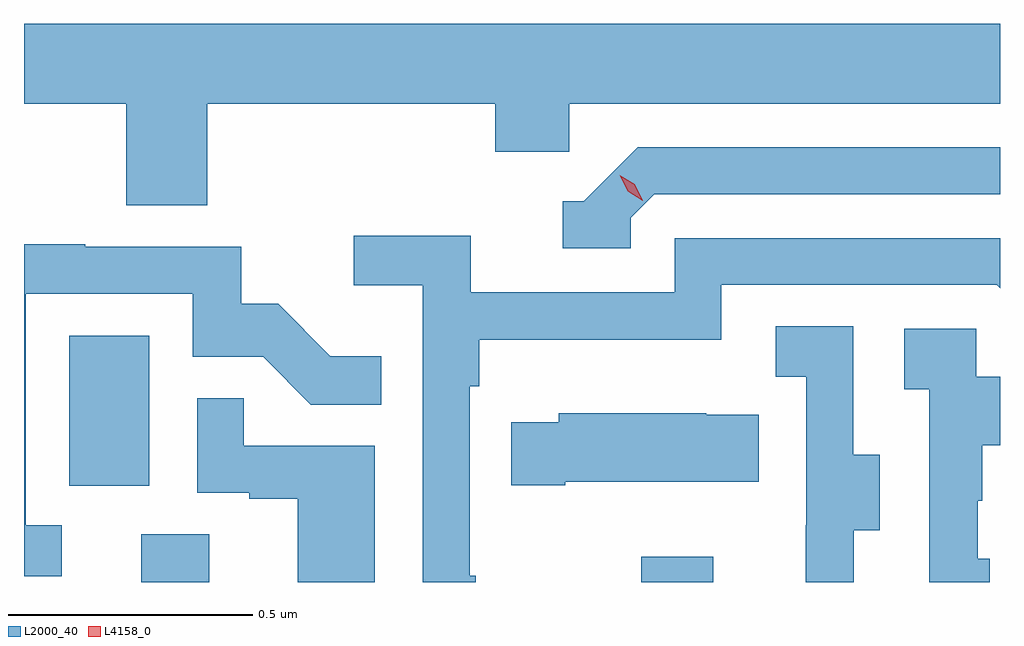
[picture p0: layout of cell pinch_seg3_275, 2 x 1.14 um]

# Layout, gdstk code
import gdstk
lib = gdstk.Library(unit=1e-6, precision=1e-09)
def R(c, l, rs):  # rectangles x0, y0, x1, y1
    for r in rs: c.add(gdstk.rectangle(r[:2], r[2:], *l))
def P(c, l, *ps):  # polygons
    for p in ps: c.add(gdstk.Polygon(p, *l))
L2000_40 = (2000, 40)
L4158_0 = (4158, 0)

pinch_seg3_275 = lib.new_cell('pinch_seg3_275')
R(pinch_seg3_275, L2000_40, [(901.841,713.256,901.981,713.354), (902.866,713.256,903.013,713.308), (901.694,713.454,901.858,713.761)])
P(pinch_seg3_275, L2000_40, [(901.976,714.236),(902.567,714.236),(902.567,714.138),(902.718,714.138),(902.718,714.236),(903.601,714.236),(903.601,714.4),(901.601,714.4),(901.601,714.236),(901.811,714.236),(901.811,714.028),(901.976,714.028)],
  [(902.844,714.003),(902.892,714.051),(903.601,714.051),(903.601,714.147),(902.859,714.147),(902.748,714.036),(902.705,714.036),(902.705,713.94),(902.844,713.94)],
  [(902.527,713.269),(902.514,713.269),(902.514,713.657),(902.534,713.657),(902.534,713.753),(903.03,713.753),(903.03,713.865),(903.594,713.865),(903.601,713.858),(903.601,713.961),(902.934,713.961),(902.934,713.85),(902.516,713.85),(902.516,713.966),(902.277,713.966),(902.277,713.864),(902.418,713.864),(902.418,713.256),(902.527,713.256)],
  [(901.678,713.373),(901.605,713.373),(901.605,713.847),(901.947,713.847),(901.947,713.718),(902.091,713.718),(902.189,713.62),(902.333,713.62),(902.333,713.719),(902.229,713.719),(902.122,713.826),(902.046,713.826),(902.046,713.943),(901.727,713.943),(901.727,713.948),(901.601,713.948),(901.601,713.268),(901.678,713.268)],
  [(903.301,713.362),(903.355,713.362),(903.355,713.517),(903.3,713.517),(903.3,713.78),(903.141,713.78),(903.141,713.677),(903.204,713.677),(903.204,713.373),(903.203,713.373),(903.203,713.256),(903.301,713.256)],
  [(903.58,713.304),(903.555,713.304),(903.555,713.423),(903.565,713.423),(903.565,713.537),(903.601,713.537),(903.601,713.677),(903.552,713.677),(903.552,713.775),(903.405,713.775),(903.405,713.651),(903.456,713.651),(903.456,713.256),(903.58,713.256)],
  [(902.32,713.535),(902.051,713.535),(902.051,713.633),(901.956,713.633),(901.956,713.439),(902.063,713.439),(902.063,713.427),(902.162,713.427),(902.162,713.256),(902.32,713.256)],
  [(902.71,713.462),(903.107,713.462),(903.107,713.599),(902.999,713.599),(902.999,713.602),(902.697,713.602),(902.697,713.584),(902.599,713.584),(902.599,713.455),(902.71,713.455)])
P(pinch_seg3_275, L4158_0, [(902.869,714.038),(902.838,714.057),(902.822,714.09),(902.822,714.09),(902.822,714.09),(902.853,714.071),(902.869,714.038),(902.869,714.038)])

lib.write_gds('pinch_seg3_275.gds')
